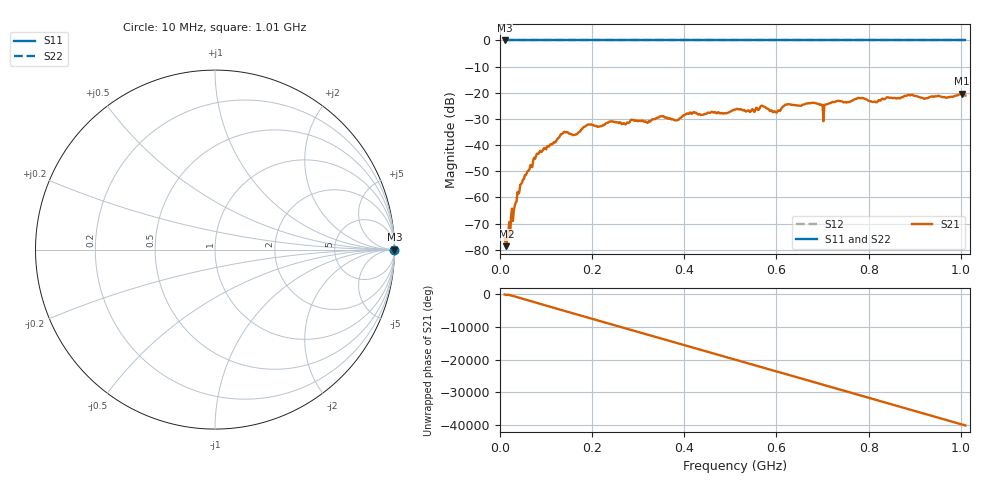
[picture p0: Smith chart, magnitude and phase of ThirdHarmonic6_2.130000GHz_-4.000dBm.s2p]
! 8/17/2025 1:27:06 AM
! C:\ANRITSUVNA\TEMP\TEMP.S2P
! CHANNEL.1
! TR.MEASUREMENT
! RAW.DATA
! RF.CORRECTION.OFF
! AVERAGING.OFF
! IF.BANDWIDTH: 5KHZ
! SWEEPTYPE:  FREQ.SWEEP(Linear)
! Reference Plane Port Info
! PORT:  PORT1  PORT2
! DISTANCE:  0  m  0  m
! TIME:  0  s  0  s
! PHASE.OFFSET:  0  deg.  0  deg.
! LOSS:  0  dB  0  dB
! REF.LOSS:  0  dB  0  dB
! REF.FREQ:  0  Hz  0  Hz
! Power Info
! POWER:  -20  dBm  -20  dBm
! EFF.POWER:  -20  dBm  -20  dBm
! SOURCE.ATTEN:  0  dB  0  dB
! TEST.ATTEN:  0  dB  0  dB
# GHZ S RI R 50.0
! FREQ.GHZ  S11RE  S11IM  S21RE  S21IM  S12RE  S12IM  S22RE  S22IM
!; PortSelection: Port_12
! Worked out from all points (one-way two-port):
!   501 points, 10 MHz to 1.01 GHz, reference 50 ohm
!   highest |S21| = -20.40 dB at 1.002 GHz (marker M1); lowest = -78.7 dB at 14 MHz (marker M2)
!   lowest |S11| = 0.0 dB at 10 MHz (marker M3)
!   |S11| at or under -10 dB: nowhere
!   |S22| runs from 0.0 to 0.0 dB; largest |S21 - S12| = 1.1
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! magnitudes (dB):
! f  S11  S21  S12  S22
! 10 MHz  0.0  -75.6  0.0  0.0
! 14 MHz  0.0  -78.7  0.0  0.0
! 42 MHz  0.0  -58.0  0.0  0.0
! 78 MHz  0.0  -44.3  0.0  0.0
! 136 MHz  0.0  -35.6  0.0  0.0
! 162 MHz  0.0  -36.1  0.0  0.0
! 178 MHz  0.0  -33.9  0.0  0.0
! 344 MHz  0.0  -29.5  0.0  0.0
! 384 MHz  0.0  -30.5  0.0  0.0
! 410 MHz  0.0  -28.1  0.0  0.0
! 510 MHz  0.0  -26.4  0.0  0.0
! 570 MHz  0.0  -25.1  0.0  0.0
! 596 MHz  0.0  -27.1  0.0  0.0
! 622 MHz  0.0  -24.5  0.0  0.0
! 678 MHz  0.0  -23.8  0.0  0.0
! 702 MHz  0.0  -30.9  0.0  0.0
! 732 MHz  0.0  -23.2  0.0  0.0
! 782 MHz  0.0  -22.0  0.0  0.0
! 814 MHz  0.0  -23.4  0.0  0.0
! 844 MHz  0.0  -21.9  0.0  0.0
! 1.002 GHz  0.0  -20.4  0.0  0.0
! 1.01 GHz  0.0  -21.0  0.0  0.0
